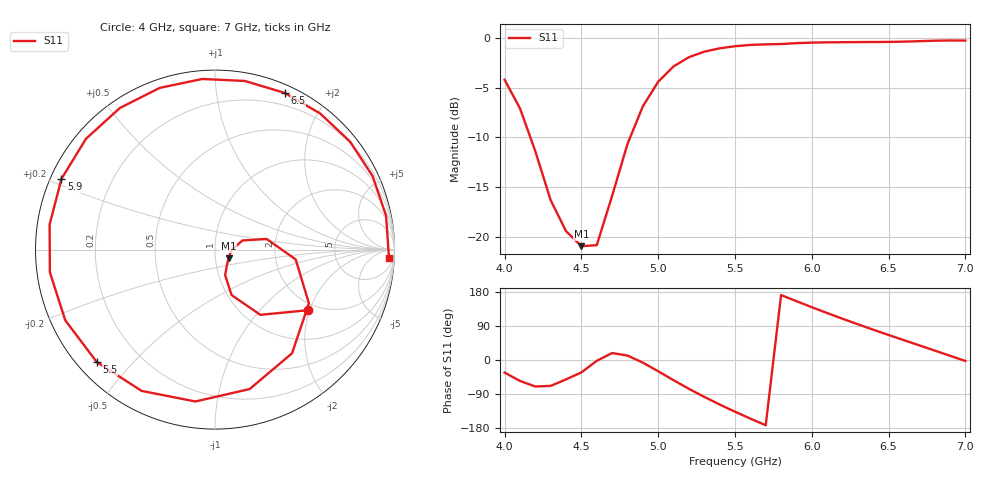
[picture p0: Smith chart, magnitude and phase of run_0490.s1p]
! Touchstone file exported from HFSS 2024.2.0
!  File:  C:/Users/wsak9/Desktop/Sim Fast/Widenad Patch/WP_AI_V1_sweep.aedt
!  Generated:  12:32:33 PM Oct 14, 2026
!  Design:  A1_model
!  Project:  WP_AI_V1_sweep
!  Setup:  Setup1
!  Solution:  Sweep
! Variables:
!  Air_gap = 4.51mm
!  Curve_Amp1 = 1.19
!  Curve_len1 = 1
!  Curve_pos = 13.11mm
!  Extra = 7.83mm
!  H_sub = 0.79mm
!  L_Patch = 22.22mm
!  L_Patch1 = 19.33mm
!  Sx = 3.5mm
!  Sy = 1.8mm
!  WS = 1.45mm
!  W_Patch = 19.54mm
!  W_Patch1 = 11.5mm
!Data is not renormalized
# GHz S MA
! Terminal data exported
! Port[1] = 1
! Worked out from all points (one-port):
!   31 points, 4 GHz to 7 GHz, reference per port
!   lowest |S11| = -20.9 dB at 4.5 GHz (marker M1), VSWR 1.20
!   |S11| at or under -10 dB: 4.168 GHz to 4.817 GHz (649.5 MHz wide, 14.5 % of centre)
!   S11 on the Smith chart (normalised r, x): 4 GHz: 1.78, -1.94; 5.5 GHz: 0.06, -0.40; 5.9 GHz: 0.03, +0.22; 6.5 GHz: 0.08, +1.54; 7 GHz: 20, -30
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4  0.6165 -33.2
4.1  0.4427 -55.2
4.2  0.2696 -70.0
4.3  0.1529 -68.3
4.4  0.1069 -51.1
4.5  0.08986 -32.8
4.6  0.09092 -2.2
4.7  0.1608 18.4
4.8  0.2933 11.7
4.9  0.453 -7.0
5  0.6027 -29.8
5.1  0.7196 -53.4
5.2  0.8005 -76.0
5.3  0.8532 -97.4
5.4  0.8871 -117.4
5.5  0.9089 -136.5
5.6  0.9226 -154.7
5.7  0.9287 -172.2
5.8  0.9321 171.4
5.9  0.9419 155.2
6.1  0.9505 123.9
6.2  0.9522 108.9
6.3  0.9533 94.3
6.4  0.9542 80.0
6.5  0.9555 66.0
6.7  0.9635 38.7
6.9  0.9715 11.2
7  0.9703 -2.6
